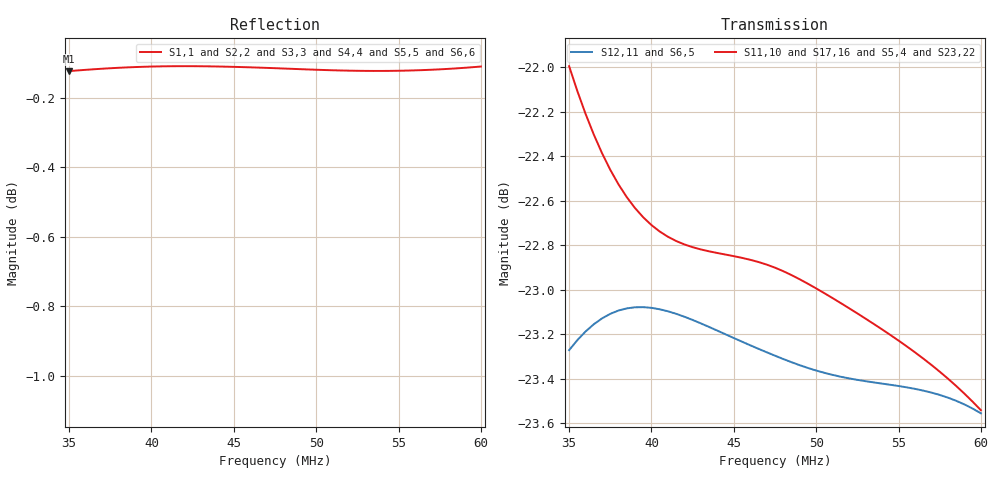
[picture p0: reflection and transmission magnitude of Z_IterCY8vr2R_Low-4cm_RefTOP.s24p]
! Touchstone file created by CIA_Reference.py on 2019-10-01
# MHz S MA R 15.000000
!MARKERS  35.000000 40.000000 47.500000 55.000000 60.000000
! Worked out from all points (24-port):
!   51 points, 35 MHz to 60 MHz, reference 15 ohm
!   strongest paths, dB at 35 MHz, 41 MHz, 47.5 MHz, 54 MHz, 60 MHz:
!     S11,10: -22.0, -22.8, -22.9, -23.2, -23.5
!     S17,16: -22.1, -22.8, -22.9, -23.2, -23.5
!     S5,4: -22.4, -22.9, -23.0, -23.3, -23.7
!     S23,22: -22.4, -22.9, -23.0, -23.3, -23.7
!     S12,11: -23.3, -23.1, -23.3, -23.4, -23.6
!     S6,5: -23.0, -23.2, -23.3, -23.5, -23.7
!   lowest |S11| = -0.1 dB at 35 MHz (marker M1), VSWR 141.11, Z = 0.318 + j21.2 ohm
!   |S11| at or under -10 dB: nowhere
